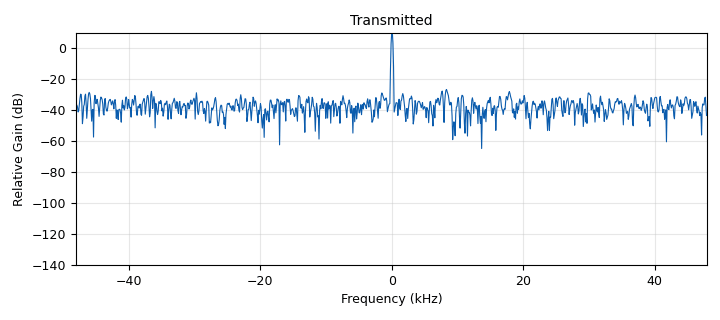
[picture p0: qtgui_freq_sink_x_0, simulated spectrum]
options:
  parameters:
    generate_options: qt_gui
    id: top_block
    output_language: python
    title: Not titled yet
  states: {}

blocks:
- name: f1
  id: variable_qtgui_range
  parameters:
    start: '10'
    step: '1'
    stop: '20000'
    value: '50'
  states: {}
- name: samp_rate
  id: variable
  parameters:
    value: '96000'
  states: {}
- name: analog_noise_source_x_0
  id: analog_noise_source_x
  parameters:
    amp: '1'
    noise_type: analog.GR_GAUSSIAN
    seed: '-42'
    type: complex
  states: {}
- name: analog_sig_source_x_0
  id: analog_sig_source_x
  parameters:
    amp: '5'
    freq: f1
    offset: '0'
    phase: '0'
    samp_rate: samp_rate
    type: complex
    waveform: analog.GR_COS_WAVE
  states: {}
- name: analog_sig_source_x_1
  id: analog_sig_source_x
  parameters:
    amp: '5'
    freq: f1
    offset: '0'
    phase: '0'
    samp_rate: samp_rate
    type: complex
    waveform: analog.GR_COS_WAVE
  states: {}
- name: blocks_add_xx_0
  id: blocks_add_xx
  parameters:
    num_inputs: '3'
    type: complex
  states: {}
- name: qtgui_freq_sink_x_0
  id: qtgui_freq_sink_x
  parameters:
    bw: samp_rate
    fc: '0'
    fftsize: '1024'
    name: Transmitted
    type: complex
  states: {}
- name: qtgui_freq_sink_x_1
  id: qtgui_freq_sink_x
  parameters:
    bw: samp_rate
    fc: '0'
    fftsize: '1024'
    name: Received
    type: complex
  states: {}
- name: uhd_usrp_sink_0
  id: uhd_usrp_sink
  parameters:
    ant0: '"TX/RX"'
    bw0: samp_rate
    center_freq0: '2400000000'
    gain0: '50'
    samp_rate: samp_rate
    sync: sync
    type: fc32
  states: {}
- name: uhd_usrp_source_0
  id: uhd_usrp_source
  parameters:
    ant0: '"RX2"'
    bw0: samp_rate
    center_freq0: '2400000000'
    gain0: '80'
    samp_rate: samp_rate
    sync: sync
    type: fc32
  states: {}

connections:
- [analog_noise_source_x_0, '0', blocks_add_xx_0, '2']
- [analog_sig_source_x_0, '0', blocks_add_xx_0, '0']
- [analog_sig_source_x_1, '0', blocks_add_xx_0, '1']
- [blocks_add_xx_0, '0', qtgui_freq_sink_x_0, '0']
- [blocks_add_xx_0, '0', uhd_usrp_sink_0, '0']
- [uhd_usrp_source_0, '0', qtgui_freq_sink_x_1, '0']

metadata:
  file_format: 1
  grc_version: 3.10.12.0
